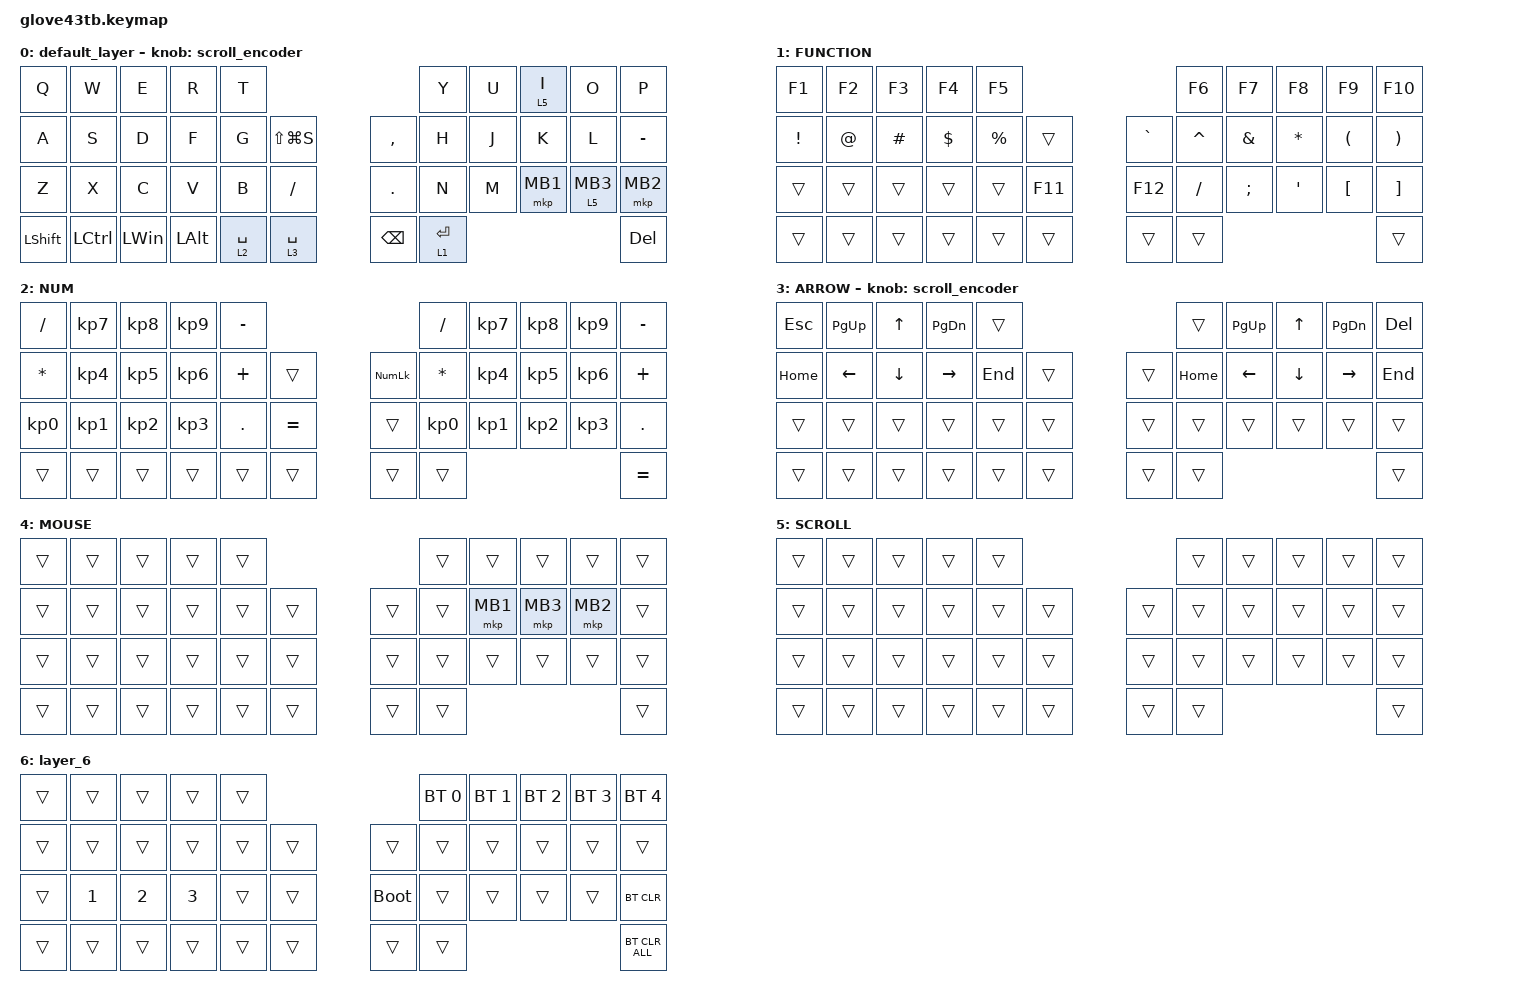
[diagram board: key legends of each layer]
#include <behaviors.dtsi>
#include <dt-bindings/zmk/bt.h>
#include <dt-bindings/zmk/keys.h>
#include <dt-bindings/zmk/pointing.h>

#define ZMK_POINTING_DEFAULT_SCRL_VAL 100

&mt {
    flavor = "balanced";
    quick-tap-ms = <0>;
};

&trackball {
    #automouse-layer = <4>;
    scroll-layers = <5>;

    // arrows {
    //     layers = <3>;
    //     bindings =
    //         <&kp RIGHT_ARROW>,ARROW
    //         <&kp LEFT_ARROW>,
    //         <&kp UP_ARROW>,
    //         <&kp DOWN_ARROW>;
    //     tick = <10>;
    //     wait-ms = <5>;
    //     tap-ms = <5>;
    // };
};

/ {
    combos {
        compatible = "zmk,combos";

        tab {
            bindings = <&kp TAB>;
            key-positions = <10 11>;
        };

        shift_tab {
            bindings = <&kp LS(TAB)>;
            key-positions = <12 11>;
        };

        capslock {
            bindings = <&to_layer_0 CAPSLOCK>;
            key-positions = <11 10 12 13>;
        };

        comma {
            bindings = <&kp COMMA>;
            key-positions = <30 31>;
        };

        period {
            bindings = <&kp PERIOD>;
            key-positions = <31 32>;
        };

        slash {
            bindings = <&kp SLASH>;
            key-positions = <32 33>;
        };

        quotation {
            bindings = <&kp SQT>;
            key-positions = <20 21>;
        };

        semi_colon {
            bindings = <&kp SEMICOLON>;
            key-positions = <19 20>;
        };

        escape {
            bindings = <&kp ESCAPE>;
            key-positions = <0 1>;
        };

        left_blacked {
            bindings = <&kp LEFT_BRACKET>;
            key-positions = <6 7>;
        };

        right_blacked {
            bindings = <&kp RIGHT_BRACKET>;
            key-positions = <7 8>;
        };

        back_slash {
            bindings = <&kp BACKSLASH>;
            key-positions = <8 9>;
        };

        back_quote {
            bindings = <&kp GRAVE>;
            key-positions = <1 2>;
        };

        layer6 {
            bindings = <&lt_to_layer_0 6 K_CMENU>;
            key-positions = <34 35 36 37>;
        };
    };

    macros {
        to_layer_0: to_layer_0 {
            compatible = "zmk,behavior-macro-one-param";
            #binding-cells = <1>;
            bindings = <&to 0 &macro_param_1to1 &kp MACRO_PLACEHOLDER>;
            label = "TO_LAYER_0";
        };
    };

    behaviors {
        lt_to_layer_0: lt_to_layer_0 {
            compatible = "zmk,behavior-hold-tap";
            label = "LAYER_TAP_TO_0";
            bindings = <&mo>, <&to_layer_0>;

            #binding-cells = <2>;
            tapping-term-ms = <200>;
        };

        scroll_encoder: scroll_encoder {
            compatible = "zmk,behavior-sensor-rotate";
            #sensor-binding-cells = <0>;
            bindings = <&msc SCRL_DOWN>, <&msc SCRL_UP>;

            tap-ms = <20>;
        };

        my_ht: my_ht {
            compatible = "zmk,behavior-hold-tap";
            label = "MY_HOLD_TAP";
            bindings = <&mo>, <&mkp>;

            #binding-cells = <2>;
            tapping-term-ms = <200>;
            flavor = "balanced";
        };
    };

    keymap {
        compatible = "zmk,keymap";

        default_layer {
            bindings = <
&kp Q           &kp W             &kp E         &kp R         &kp T                                                   &kp Y        &kp U  &lt 5 I   &kp O         &kp P
&kp A           &kp S             &kp D         &kp F         &kp G        &kp LS(LG(S))               &kp COMMA      &kp H        &kp J  &kp K     &kp L         &kp MINUS
&kp Z           &kp X             &kp C         &kp V         &kp B        &kp SLASH                   &kp PERIOD     &kp N        &kp M  &mkp MB1  &my_ht 5 MB3  &mkp MB2
&kp LEFT_SHIFT  &kp LEFT_CONTROL  &kp LEFT_WIN  &kp LEFT_ALT  &lt 2 SPACE  &lt_to_layer_0 3 SPACE      &kp BACKSPACE  &lt 1 ENTER                                 &kp DEL
            >;

            sensor-bindings = <&scroll_encoder>;
        };

        FUNCTION {
            bindings = <
&kp F1           &kp F2       &kp F3    &kp F4      &kp F5                               &kp F6     &kp F7         &kp F8        &kp F9                &kp F10
&kp EXCLAMATION  &kp AT_SIGN  &kp HASH  &kp DOLLAR  &kp PERCENT  &trans       &kp GRAVE  &kp CARET  &kp AMPERSAND  &kp ASTERISK  &kp LEFT_PARENTHESIS  &kp RIGHT_PARENTHESIS
&trans           &trans       &trans    &trans      &trans       &kp F11      &kp F12    &kp SLASH  &kp SEMICOLON  &kp SQT       &kp LEFT_BRACKET      &kp RIGHT_BRACKET
&trans           &trans       &trans    &trans      &trans       &trans       &trans     &trans                                                        &trans
            >;
        };

        NUM {
            bindings = <
&kp SLASH        &kp KP_NUMBER_7  &kp KP_NUMBER_8  &kp KP_NUMBER_9  &kp MINUS                                  &kp SLASH        &kp KP_NUMBER_7  &kp KP_NUMBER_8  &kp KP_NUMBER_9  &kp MINUS
&kp ASTERISK     &kp KP_NUMBER_4  &kp KP_NUMBER_5  &kp KP_NUMBER_6  &kp PLUS    &trans         &kp KP_NUMLOCK  &kp ASTERISK     &kp KP_NUMBER_4  &kp KP_NUMBER_5  &kp KP_NUMBER_6  &kp PLUS
&kp KP_NUMBER_0  &kp KP_NUMBER_1  &kp KP_NUMBER_2  &kp KP_NUMBER_3  &kp PERIOD  &kp EQUAL      &trans          &kp KP_NUMBER_0  &kp KP_NUMBER_1  &kp KP_NUMBER_2  &kp KP_NUMBER_3  &kp PERIOD
&trans           &trans           &trans           &trans           &trans      &trans         &trans          &trans                                                              &kp EQUAL
            >;
        };

        ARROW {
            bindings = <
&kp ESCAPE  &kp PAGE_UP     &kp UP_ARROW    &kp PAGE_DOWN    &trans                       &trans    &kp PAGE_UP  &kp UP_ARROW    &kp PAGE_DOWN  &kp DEL
&kp HOME    &kp LEFT_ARROW  &kp DOWN_ARROW  &kp RIGHT_ARROW  &kp END  &trans      &trans  &kp HOME  &kp LEFT     &kp DOWN_ARROW  &kp RIGHT      &kp END
&trans      &trans          &trans          &trans           &trans   &trans      &trans  &trans    &trans       &trans          &trans         &trans
&trans      &trans          &trans          &trans           &trans   &trans      &trans  &trans                                                &trans
            >;

            sensor-bindings = <&scroll_encoder>;
        };

        MOUSE {
            bindings = <
&trans  &trans  &trans  &trans  &trans                      &trans  &trans    &trans    &trans    &trans
&trans  &trans  &trans  &trans  &trans  &trans      &trans  &trans  &mkp MB1  &mkp MB3  &mkp MB2  &trans
&trans  &trans  &trans  &trans  &trans  &trans      &trans  &trans  &trans    &trans    &trans    &trans
&trans  &trans  &trans  &trans  &trans  &trans      &trans  &trans                                &trans
            >;
        };

        SCROLL {
            bindings = <
&trans  &trans  &trans  &trans  &trans                      &trans  &trans  &trans  &trans  &trans
&trans  &trans  &trans  &trans  &trans  &trans      &trans  &trans  &trans  &trans  &trans  &trans
&trans  &trans  &trans  &trans  &trans  &trans      &trans  &trans  &trans  &trans  &trans  &trans
&trans  &trans  &trans  &trans  &trans  &trans      &trans  &trans                          &trans
            >;
        };

        layer_6 {
            bindings = <
&trans  &trans        &trans        &trans        &trans                           &bt BT_SEL 0  &bt BT_SEL 1  &bt BT_SEL 2  &bt BT_SEL 3  &bt BT_SEL 4
&trans  &trans        &trans        &trans        &trans  &trans      &trans       &trans        &trans        &trans        &trans        &trans
&trans  &kp NUMBER_1  &kp NUMBER_2  &kp NUMBER_3  &trans  &trans      &bootloader  &trans        &trans        &trans        &trans        &bt BT_CLR
&trans  &trans        &trans        &trans        &trans  &trans      &trans       &trans                                                  &bt BT_CLR_ALL
            >;
        };
    };
};
